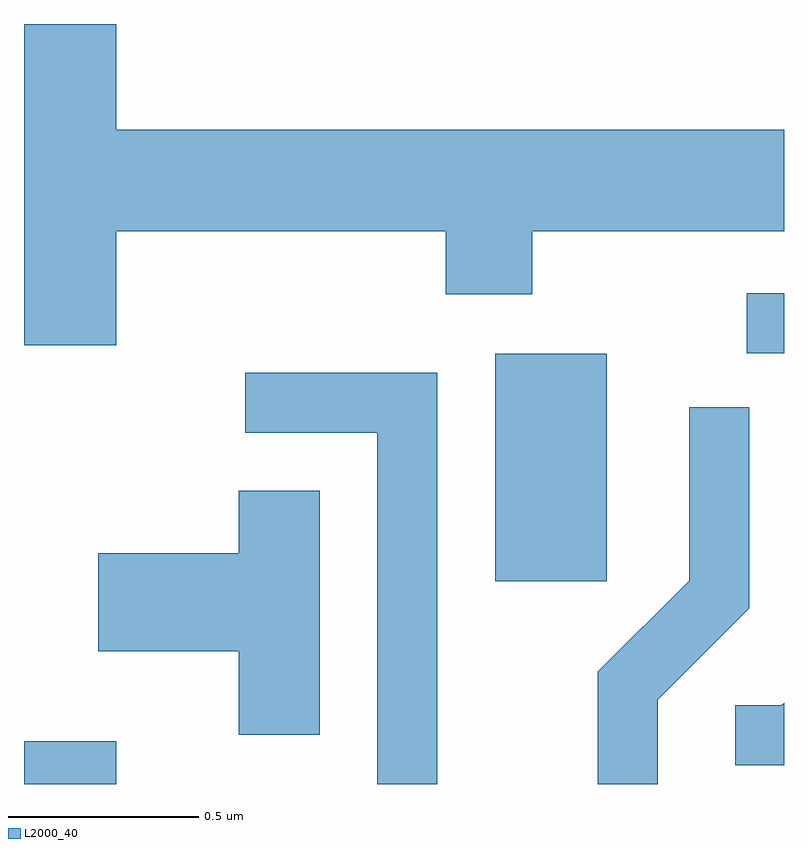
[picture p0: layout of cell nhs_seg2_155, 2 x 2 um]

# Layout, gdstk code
import gdstk
lib = gdstk.Library(unit=1e-6, precision=1e-09)
def R(c, l, rs):  # rectangles x0, y0, x1, y1
    for r in rs: c.add(gdstk.rectangle(r[:2], r[2:], *l))
def P(c, l, *ps):  # polygons
    for p in ps: c.add(gdstk.Polygon(p, *l))
L2000_40 = (2000, 40)

nhs_seg2_155 = lib.new_cell('nhs_seg2_155')
R(nhs_seg2_155, L2000_40, [(186.611,995.802,186.854,995.914), (187.851,996.336,188.144,996.934), (188.513,996.936,188.611,997.094)])
P(nhs_seg2_155, L2000_40, [(186.854,997.256),(187.721,997.256),(187.721,997.091),(187.949,997.091),(187.949,997.256),(188.611,997.256),(188.611,997.524),(186.854,997.524),(186.854,997.802),(186.611,997.802),(186.611,996.956),(186.854,996.956)],
  [(187.699,996.884),(187.193,996.884),(187.193,996.726),(187.541,996.726),(187.541,995.802),(187.699,995.802)],
  [(188.279,996.024),(188.519,996.264),(188.519,996.793),(188.361,996.793),(188.361,996.337),(188.121,996.097),(188.121,995.802),(188.279,995.802)],
  [(187.389,996.574),(187.176,996.574),(187.176,996.409),(186.806,996.409),(186.806,996.151),(187.176,996.151),(187.176,995.931),(187.389,995.931)],
  [(188.611,996.016),(188.604,996.009),(188.483,996.009),(188.483,995.851),(188.611,995.851)])

lib.write_gds('nhs_seg2_155.gds')
